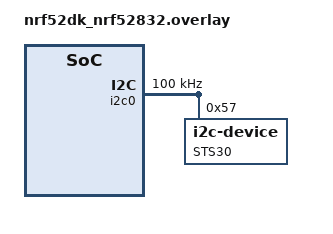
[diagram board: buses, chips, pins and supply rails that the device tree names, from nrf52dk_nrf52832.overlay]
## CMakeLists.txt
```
cmake_minimum_required(VERSION 3.20.0)
find_package(Zephyr REQUIRED HINTS $ENV{ZEPHYR_BASE})

project(max30100)

target_sources(app PRIVATE src/main.c)
```

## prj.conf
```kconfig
CONFIG_SENSOR=y
CONFIG_CBPRINTF_FP_SUPPORT=y
CONFIG_I2C=y
CONFIG_LOG=y
CONFIG_LOG_DEFAULT_LEVEL=4
CONFIG_MAIN_STACK_SIZE=2048
CONFIG_SYSTEM_WORKQUEUE_STACK_SIZE=2048
CONFIG_ISR_STACK_SIZE=2048
```

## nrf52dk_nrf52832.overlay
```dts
&i2c0 {
    compatible = "nordic,nrf-twim";
    status = "okay";

    clock-frequency = <I2C_BITRATE_STANDARD>;

    mysensor: mysensor@57 {
        status = "okay";
        compatible = "i2c-device";
        reg = <0x57>;

        label = "STS30";

    };
};
```

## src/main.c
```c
// #include <zephyr/kernel.h>
// #include <zephyr/device.h>
// #include <zephyr/devicetree.h>
// #include <zephyr/drivers/i2c.h>
// #include <zephyr/sys/printk.h>

// #define MAX30100_I2C_ADDR 0x57
// #define REG_MODE_CONFIG 0x06
// #define REG_SPO2_CONFIG 0x07
// #define REG_LED_CONFIG 0x09
// #define REG_FIFO_DATA 0x05
// #define REG_INTERRUPT_STAT 0x00

// #define I2C_NODE DT_NODELABEL(mysensor)

// static const struct i2c_dt_spec i2c_dev = I2C_DT_SPEC_GET(I2C_NODE);

// static int max30100_write_register(uint8_t reg, uint8_t value)
// {
//     return i2c_reg_write_byte_dt(&i2c_dev, reg, value);
// }

// static int max30100_read_register(uint8_t reg, uint8_t *value)
// {
//     return i2c_reg_read_byte_dt(&i2c_dev, reg, value);
// }

// static int max30100_init()
// {
//     uint8_t id;

//     if (max30100_read_register(0xFF, &id) != 0)
//     {
//         printk("MAX30100 not detected!\n");
//         return -1;
//     }

//     // Reset the device
//     max30100_write_register(REG_MODE_CONFIG, 0x40);
//     k_msleep(100);

//     // Enable SpO2 mode
//     max30100_write_register(REG_MODE_CONFIG, 0x03);

//     // Set SpO2 sample rate = 100Hz, LED pulse width = 1600us
//     max30100_write_register(REG_SPO2_CONFIG, 0x27);

//     // Set LED current (IR = 50mA, Red = 27.1mA)
//     max30100_write_register(REG_LED_CONFIG, 0x24);

//     return 0;
// }

// static int max30100_read_data(uint16_t *ir, uint16_t *red)
// {
//     uint8_t data[4];
//     uint8_t reg = REG_FIFO_DATA;

//     if (i2c_write_read_dt(&i2c_dev, &reg, 1, data, 4) != 0)
//     {
//         printk("Failed to read FIFO data!\n");
//         return -1;
//     }

//     *ir = (data[0] << 8) | data[1];
//     *red = (data[2] << 8) | data[3];

//     return 0;
// }

// void main(void)
// {
//     uint16_t ir, red;

//     if (!device_is_ready(i2c_dev.bus))
//     {
//         printk("I2C bus not ready!\n");
//         return;
//     }

//     if (max30100_init() != 0)
//     {
//         printk("MAX30100 initialization failed!\n");
//         return;
//     }

//     printk("MAX30100 Initialized Successfully!\n");

//     while (1)
//     {
//         if (max30100_read_data(&ir, &red) == 0)
//         {
//             printk("IR: %d, RED: %d\n", ir, red);
//         }
//         else
//         {
//             printk("Sensor read failed!\n");
//         }
//         k_msleep(100);
//     }
// }

///////////////////////////////

#include <zephyr/device.h>
#include <zephyr/drivers/i2c.h>
#include <zephyr/kernel.h>
#include <zephyr/logging/log.h>
#include <math.h>

LOG_MODULE_REGISTER(max30100, LOG_LEVEL_INF);

#define MAX30100_ADDR 0x57
#define REG_INTERRUPT_ENABLE 0x01
#define REG_MODE_CONFIG 0x06
#define REG_SPO2_CONFIG 0x07
#define REG_LED_CONFIG 0x09
#define REG_FIFO_DATA 0x05
#define REG_PART_ID 0xFF
#define REG_FIFO_WR_PTR 0x02
#define REG_FIFO_RD_PTR 0x04

#define MAX30100_MODE_SPO2 0x03
#define LED_CURRENT_50MA 0x2F
#define SPO2_SAMPLING_100HZ 0x47
#define FINGER_DETECT_THRESHOLD 5000

#define MA4_SIZE 8
#define MAX_PEAKS 8

#if !DT_NODE_HAS_STATUS(DT_NODELABEL(i2c0), okay)
#error "I2C0 device is not defined or enabled in the device tree"
#endif
const struct device *i2c_dev = DEVICE_DT_GET(DT_NODELABEL(i2c0));

static int max30100_write_register(uint8_t reg, uint8_t value)
{
    uint8_t buffer[2] = {reg, value};
    return i2c_write(i2c_dev, buffer, sizeof(buffer), MAX30100_ADDR);
}

static int max30100_check_presence(void)
{
    uint8_t reg = REG_PART_ID;
    uint8_t part_id;
    int ret = i2c_write_read(i2c_dev, MAX30100_ADDR, &reg, 1, &part_id, 1);
    if (ret < 0 || part_id != 0x11)
    {
        LOG_ERR("MAX30100 not detected (part_id: 0x%02x, err: %d)", part_id, ret);
        return -ENODEV;
    }
    LOG_INF("MAX30100 detected, part ID: 0x%02x", part_id);
    return 0;
}

static int max30100_read_fifo(uint16_t *ir, uint16_t *red)
{
    uint8_t reg = REG_FIFO_WR_PTR;
    uint8_t fifo_wr_ptr, fifo_rd_ptr;
    int ret = i2c_write_read(i2c_dev, MAX30100_ADDR, &reg, 1, &fifo_wr_ptr, 1);
    if (ret < 0)
        return ret;
    reg = REG_FIFO_RD_PTR;
    ret = i2c_write_read(i2c_dev, MAX30100_ADDR, &reg, 1, &fifo_rd_ptr, 1);
    if (ret < 0)
        return ret;
    if (fifo_wr_ptr == fifo_rd_ptr)
        return -ENODATA;

    reg = REG_FIFO_DATA;
    uint8_t data[4];
    ret = i2c_write_read(i2c_dev, MAX30100_ADDR, &reg, 1, data, 4);
    if (ret < 0)
        return ret;

    *ir = (data[0] << 8) | data[1];
    *red = (data[2] << 8) | data[3];
    return 0;
}

// Moving average buffers
static uint16_t ir_buffer[MA4_SIZE] = {0};
static uint16_t red_buffer[MA4_SIZE] = {0};
static uint8_t buf_index = 0;

// RR intervals for HR calculation
static uint32_t rr_intervals[MAX_PEAKS] = {0};
static int rr_index = 0;
static uint32_t last_peak_time = 0;

static void calculate_hr_spo2(uint16_t ir, uint16_t red)
{
    ir_buffer[buf_index] = ir;
    red_buffer[buf_index] = red;
    buf_index = (buf_index + 1) % MA4_SIZE;

    uint32_t ir_avg = 0;
    for (int i = 0; i < MA4_SIZE; i++)
        ir_avg += ir_buffer[i];
    ir_avg /= MA4_SIZE;

    if (ir_avg > FINGER_DETECT_THRESHOLD)
    {
        static uint16_t prev_ir = 0;
        static uint8_t peak_detected = 0;
        uint32_t now = k_uptime_get_32();

        // Simple peak detection
        if (ir > prev_ir && !peak_detected && ir > (ir_avg * 1.02))
            peak_detected = 1;
        else if (ir < prev_ir && peak_detected)
        {
            peak_detected = 0;
            uint32_t time_diff = now - last_peak_time;
            if (time_diff > 300 && time_diff < 2000)
            {
                rr_intervals[rr_index % MAX_PEAKS] = time_diff;
                rr_index++;
                last_peak_time = now;

                if (rr_index >= 3)
                {
                    uint32_t avg_rr = 0;
                    int count = (rr_index < MAX_PEAKS) ? rr_index : MAX_PEAKS;
                    for (int i = 0; i < count; i++)
                        avg_rr += rr_intervals[i];
                    avg_rr /= count;
                    int hr = 60000 / avg_rr;

                    // Simple SpO2 estimate
                    uint32_t red_avg = 0;
                    for (int i = 0; i < MA4_SIZE; i++)
                        red_avg += red_buffer[i];
                    red_avg /= MA4_SIZE;
                    float ratio = (float)red_avg / (float)ir_avg;
                    float spo2 = 110 - 25 * ratio;
                    if (spo2 > 100)
                        spo2 = 100;
                    if (spo2 < 85)
                        spo2 = 85;

                    LOG_INF("HR: %d bpm | SpO2: %.1f%%", hr, spo2);
                }
            }
        }
        prev_ir = ir;
    }
    else
    {
        LOG_INF("No finger detected...");
        rr_index = 0;
    }
}

static struct k_timer max30100_timer;

static void timer_handler(struct k_timer *timer)
{
    uint16_t ir, red;
    while (max30100_read_fifo(&ir, &red) == 0)
    {
        calculate_hr_spo2(ir, red);
    }
}

void main(void)
{
    LOG_INF("Starting MAX30100 Heart Rate Monitor");

    if (!device_is_ready(i2c_dev))
    {
        LOG_ERR("I2C device not ready!");
        return;
    }

    if (max30100_check_presence() < 0)
        return;

    // Reset sensor
    max30100_write_register(REG_MODE_CONFIG, 0x40);
    k_msleep(100);

    // Clear FIFO pointers
    max30100_write_register(REG_FIFO_WR_PTR, 0x00);
    max30100_write_register(REG_FIFO_RD_PTR, 0x00);

    // Initialize sensor
    max30100_write_register(REG_MODE_CONFIG, MAX30100_MODE_SPO2);
    max30100_write_register(REG_SPO2_CONFIG, SPO2_SAMPLING_100HZ);
    max30100_write_register(REG_LED_CONFIG, LED_CURRENT_50MA);
    max30100_write_register(REG_INTERRUPT_ENABLE, 0x00); // Disable interrupts

    LOG_INF("MAX30100 initialized.");

    k_timer_init(&max30100_timer, timer_handler, NULL);
    k_timer_start(&max30100_timer, K_MSEC(10), K_MSEC(10)); // 100 Hz sampling

    k_sleep(K_FOREVER);
}

// #include <zephyr/kernel.h>
// #include <zephyr/device.h>
// #include <zephyr/devicetree.h>
// #include <zephyr/drivers/i2c.h>
// #include <zephyr/sys/printk.h>
// #include <math.h>

// #define MAX30100_I2C_ADDR 0x57
// #define I2C_NODE DT_NODELABEL(mysensor)

// static const struct i2c_dt_spec max30100 = I2C_DT_SPEC_GET(I2C_NODE);

// #define FIFO_DATA_REG 0x05
// #define MODE_CONFIG 0x06
// #define SPO2_CONFIG 0x07
// #define LED_CONFIG 0x09

// #define SAMPLE_BUF_SIZE 100

// static uint16_t ir_buf[SAMPLE_BUF_SIZE];
// static uint16_t red_buf[SAMPLE_BUF_SIZE];
// static int sample_index = 0;

// // --- Utility Functions ---
// static int write_register(uint8_t reg, uint8_t value)
// {
//     uint8_t data[2] = {reg, value};
//     return i2c_write_dt(&max30100, data, 2);
// }

// static int read_fifo(uint16_t *ir, uint16_t *red)
// {
//     uint8_t data[4];
//     int ret = i2c_burst_read_dt(&max30100, FIFO_DATA_REG, data, 4);
//     if (ret != 0)
//         return ret;
//     *ir = ((uint16_t)data[0] << 8) | data[1];
//     *red = ((uint16_t)data[2] << 8) | data[3];
//     return 0;
// }

// // --- Filters ---
// static float dc_filter(float input, float *dc_estimate)
// {
//     *dc_estimate = *dc_estimate + 0.1f * (input - *dc_estimate);
//     return input - *dc_estimate;
// }

// static float moving_average(float input, float *avg, int window)
// {
//     *avg = (*avg * (window - 1) + input) / window;
//     return *avg;
// }

// // --- SpO2 calculation (ratio of ratios) ---
// static float calculate_spo2(float red_ac, float ir_ac, float red_dc, float ir_dc)
// {
//     float R = (red_ac / red_dc) / (ir_ac / ir_dc);
//     float spo2 = 110.0f - 25.0f * R; // Approximation
//     if (spo2 > 100.0f)
//         spo2 = 100.0f;
//     if (spo2 < 70.0f)
//         spo2 = 70.0f;
//     return spo2;
// }

// void main(void)
// {
//     if (!device_is_ready(max30100.bus))
//     {
//         printk("I2C bus not ready!\n");
//         return;
//     }

//     printk("Initializing MAX30100...\n");

//     // --- Configure MAX30100 ---
//     write_register(MODE_CONFIG, 0x03); // SPO2+HR mode
//     write_register(SPO2_CONFIG, 0x27); // SPO2_HI_RES + 100Hz sample rate
//     write_register(LED_CONFIG, 0xFF);  // IR=50mA, RED=50mA

//     float dc_ir = 0, dc_red = 0;
//     float prev_ir = 0;
//     float ir_ac_sum = 0, red_ac_sum = 0;
//     float ir_dc_sum = 0, red_dc_sum = 0;

//     int beat_count = 0;
//     uint32_t start_time = k_uptime_get();

//     while (1)
//     {
//         uint16_t ir_raw, red_raw;
//         if (read_fifo(&ir_raw, &red_raw) == 0)
//         {
//             float ir = dc_filter((float)ir_raw, &dc_ir);
//             float red = dc_filter((float)red_raw, &dc_red);

//             ir = moving_average(ir, &prev_ir, 5);

//             ir_buf[sample_index] = ir_raw;
//             red_buf[sample_index] = red_raw;
//             sample_index = (sample_index + 1) % SAMPLE_BUF_SIZE;

//             // Finger detection (IR must cross threshold)
//             static int finger_present = 0;
//             if (ir_raw > 20000)
//             {
//                 if (!finger_present)
//                 {
//                     printk("Finger detected. Turning LED ON\n");
//                     write_register(LED_CONFIG, 0xFF);
//                     finger_present = 1;
//                 }
//             }
//             else
//             {
//                 if (finger_present)
//                 {
//                     printk("No finger detected. Turning LED OFF\n");
//                     write_register(LED_CONFIG, 0x00);
//                     finger_present = 0;
//                 }
//                 k_msleep(50);
//                 continue;
//             }

//             // Simple Peak Detection
//             static int prev_state = 0;
//             if (ir > 1000)
//             { // Threshold (tune)
//                 if (!prev_state)
//                 {
//                     beat_count++;
//                     prev_state = 1;
//                 }
//             }
//             else
//             {
//                 prev_state = 0;
//             }

//             // Collect AC/DC components for SpO2
//             ir_ac_sum += fabsf(ir);
//             red_ac_sum += fabsf(red);
//             ir_dc_sum += dc_ir;
//             red_dc_sum += dc_red;

//             // Every 5 seconds -> calculate BPM + SpO2
//             if (k_uptime_get() - start_time > 5000)
//             {
//                 float bpm = (beat_count / 5.0f) * 60.0f;
//                 float spo2 = calculate_spo2(
//                     red_ac_sum / SAMPLE_BUF_SIZE,
//                     ir_ac_sum / SAMPLE_BUF_SIZE,
//                     red_dc_sum / SAMPLE_BUF_SIZE,
//                     ir_dc_sum / SAMPLE_BUF_SIZE);

//                 printk("Samples=%d  HR=%.1f bpm  SpO2=%.1f%%\n",
//                        SAMPLE_BUF_SIZE, bpm, spo2);

//                 // Reset counters
//                 beat_count = 0;
//                 ir_ac_sum = red_ac_sum = 0;
//                 ir_dc_sum = red_dc_sum = 0;
//                 start_time = k_uptime_get();
//             }
//         }

//         k_msleep(10); // ~100Hz sample rate
//     }
// }
```
